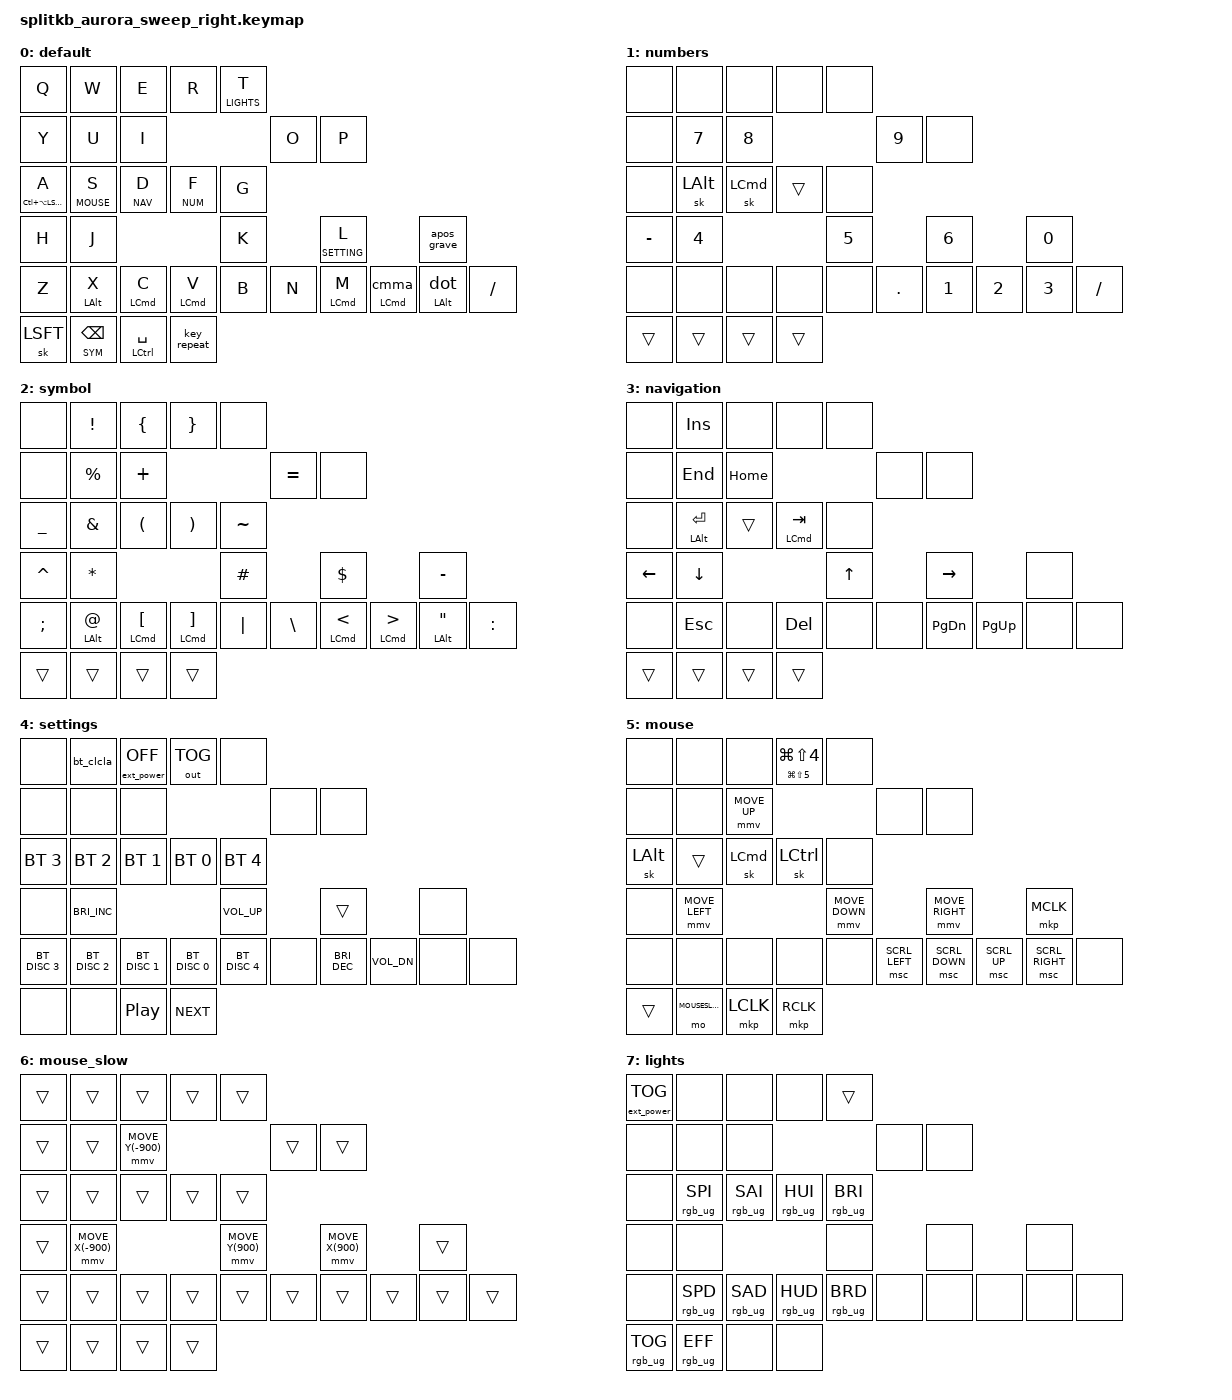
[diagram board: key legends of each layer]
/*
 * Copyright (c) 2022 The ZMK Contributors
 *
 * SPDX-License-Identifier: MIT
 */
#include <behaviors.dtsi>
#include <dt-bindings/zmk/keys.h>
#include <dt-bindings/zmk/bt.h>
#include <dt-bindings/zmk/rgb.h>
#include <dt-bindings/zmk/outputs.h>
#include <dt-bindings/zmk/ext_power.h>

#define ZMK_POINTING_DEFAULT_MOVE_VAL 1800
#include <dt-bindings/zmk/pointing.h>

#define BASE        0
#define NUM         1
#define SYM         2
#define NAV         3
#define SETTING     4
#define MOUSE       5
#define MOUSESLOW   6
#define LIGHTS      7

/* this is required here to make sure all leds get turned on per side */
&led_strip {
    chain-length = <23>;
};

&kscan {
    col-gpios
            = <&pro_micro 9 (GPIO_PULL_DOWN | GPIO_ACTIVE_HIGH)>
            , <&pro_micro 8  (GPIO_PULL_DOWN | GPIO_ACTIVE_HIGH)>
            , <&pro_micro 7  (GPIO_PULL_DOWN | GPIO_ACTIVE_HIGH)>
            , <&pro_micro 4  (GPIO_PULL_DOWN | GPIO_ACTIVE_HIGH)>
            , <&pro_micro 5  (GPIO_PULL_DOWN | GPIO_ACTIVE_HIGH)>
            ;
};

&right_encoder2 {
    status = "okay";
    a-gpios = <&pro_micro 20 GPIO_PULL_UP>;
    b-gpios = <&pro_micro 6  GPIO_PULL_UP>;
};

&mt {
    flavor = "tap-preferred";
    tapping-term-ms = <220>;
    quick-tap-ms = <180>;
    require-prior-idle-ms = <100>;
};

&sk {
    release-after-ms = <800>;
    quick-release;
};

&caps_word {
    continue-list = <UNDERSCORE MINUS BSPC>;
};

/ {
    combos {
        compatible = "zmk,combos";

        /****************************************
        ********** Left Hand Combos  ***********
        ****************************************/

        combo_ctrl_b {
            timeout-ms = <40>;
            key-positions = <11 12>;
            bindings = <&kp LC(B)>;
        };

        combo_save {
            timeout-ms = <40>;
            key-positions = <12 13>;
            bindings = <&kp LC(S)>;
        };

        combo_copy_yank {
            timeout-ms = <40>;
            key-positions = <21 22>;
            bindings = <&kp LG(C)>;
        };

	    combo_paste {
            timeout-ms = <40>;
            key-positions = <22 23>;
            bindings = <&kp LG(V)>;
        };

        combo_app_switcher {
            timeout-ms = <40>;
            key-positions = <21 22 23>;
            bindings = <&kp LG(TAB)>;
        };

    	combo_ctrl_tab {
            timeout-ms = <40>;
            key-positions = <2 13>;
            bindings = <&kp LC(TAB)>;
        };

    	combo_ctrl_tab_back {
            timeout-ms = <40>;
            key-positions = <2 11>;
            bindings = <&kp LC(LS(TAB))>;
        };

    	combo_swap_tab_down {
            timeout-ms = <40>;
            key-positions = <12 3>;
            bindings = <&kp LC(LS(PAGE_DOWN))>;
        };

    	combo_swap_tab_up {
            timeout-ms = <40>;
            key-positions = <1 12>;
            bindings = <&kp LC(LS(PAGE_UP))>;
        };

    	combo_back_history {
            timeout-ms = <40>;
            key-positions = <1 2>;
            bindings = <&kp LG(LBKT)>;
        };

    	combo_forward_history {
            timeout-ms = <40>;
            key-positions = <2 3>;
            bindings = <&kp LG(RBKT)>;
        };

    	combo_space {
            timeout-ms = <40>;
            key-positions = <11 13>;
            bindings = <&kp SPACE>;
        };

        /****************************************
        ********** Right Hand Combos  ***********
        ****************************************/

    	combo_esc {
            timeout-ms = <40>;
            key-positions = <16 17>;
            bindings = <&kp ESC>;
            layers = <0 1 2 3>;
        };

        combo_return {
            timeout-ms = <40>;
            key-positions = <17 18>;
            bindings = <&kp RETURN>;
            layers = <0 1 2 3>;
        };

    	combo_del {
            timeout-ms = <40>;
            key-positions = <26 27>;
            bindings = <&kp DEL>;
        };

    	combo_tab {
            timeout-ms = <40>;
            key-positions = <27 28>;
            bindings = <&kp TAB>;
        };

    	combo_bol {
            timeout-ms = <40>;
            key-positions = <6 7>;
            bindings = <&kp LG(LEFT)>;
        };

    	combo_eol {
            timeout-ms = <40>;
            key-positions = <7 8>;
            bindings = <&kp LG(RIGHT)>;
        };

    	combo_word_left {
            timeout-ms = <40>;
            key-positions = <7 16>;
            bindings = <&kp LA(LEFT)>;
            layers = <0 1 2 3>;
        };

    	combo_word_right {
            timeout-ms = <40>;
            key-positions = <7 18>;
            bindings = <&kp LA(RIGHT)>;
            layers = <0 1 2 3>;
        };

        /****************************
        ******    Code Combos   *****
        ******  Right Hand Vim  *****
        *****************************/

        combo_focus_left {
            timeout-ms = <35>;
            key-positions = <17 26>;
            bindings = <&kp LC(H)>;
        };

        combo_focus_right {
            timeout-ms = <50>;
            key-positions = <17 28>;
            bindings = <&kp LC(L)>;
        };

        combo_focus_down {
            timeout-ms = <35>;
            key-positions = <16 27>;
            bindings = <&kp LC(J)>;
        };

        combo_focus_up {
            timeout-ms = <50>;
            key-positions = <18 27>;
            bindings = <&kp LC(K)>;
        };

        /****************************************
        ********** Both Hand Combos  ***********
        ****************************************/

        combo_caps_word {
            timeout-ms = <55>;
            key-positions = <13 16>;
            bindings = <&caps_word>;
        };

    };

    behaviors {
        mo_kp: momentary_hold_key_press_hold {
             compatible = "zmk,behavior-hold-tap";
             #binding-cells = <2>;
             flavor = "hold-preferred";
             tapping-term-ms = <180>;
             quick-tap-ms = <180>;
             bindings = <&mo>, <&kp>;
         };

        mo_kp_tap: momentary_hold_key_press_tap_prefer {
            compatible = "zmk,behavior-hold-tap";
            #binding-cells = <2>;
            flavor = "tap-preferred";
            tapping-term-ms = <220>;
            quick-tap-ms = <180>;
            require-prior-idle-ms = <100>;
            bindings = <&mo>, <&kp>;
        };

        sk_kp_tap: stiky_key_press_tap_prefer {
            compatible = "zmk,behavior-hold-tap";
            #binding-cells = <2>;
            flavor = "tap-preferred";
            tapping-term-ms = <220>;
            quick-tap-ms = <180>;
            require-prior-idle-ms = <100>;
            bindings = <&sk>, <&kp>;
        };

        bt_clcla: tap_dance_bt_control {
            compatible = "zmk,behavior-tap-dance";
            #binding-cells = <0>;
            tapping-term-ms = <300>;
            bindings = <&none>, <&bt BT_CLR>, <&bt BT_CLR_ALL>;
        };

        apos_grave: aposgrave {
            compatible = "zmk,behavior-mod-morph";
            #binding-cells = <0>;
            bindings = <&kp APOS>, <&kp GRAVE>;
            mods = <(MOD_LSFT|MOD_RSFT)>;
        };

        dot: period_mod_tap {
            compatible = "zmk,behavior-mod-morph";
            #binding-cells = <0>;
            bindings = <&kp DOT>, <&kp DQT>;
            mods = <(MOD_LSFT|MOD_RSFT)>;
        };

        dot_hold: dot_hold {
            compatible = "zmk,behavior-hold-tap";
            #binding-cells = <2>;
            flavor = "tap-preferred";
            tapping-term-ms = <220>;
            quick-tap-ms = <180>;
            require-prior-idle-ms = <100>;
            bindings = <&kp>, <&dot>;
        };

        cmma: cmma_mod_tap {
            compatible = "zmk,behavior-mod-morph";
            #binding-cells = <0>;
            bindings = <&kp COMMA>, <&kp EXCL>;
            mods = <(MOD_LSFT|MOD_RSFT)>;
        };

        cmma_hold: cmma_hold {
            compatible = "zmk,behavior-hold-tap";
            #binding-cells = <2>;
            flavor = "tap-preferred";
            tapping-term-ms = <220>;
            quick-tap-ms = <180>;
            require-prior-idle-ms = <100>;
            bindings = <&kp>, <&cmma>;
        };

    };

    keymap {
        compatible = "zmk,keymap";

        /* 0 */
        default {
            bindings = <
                &kp Q &kp W &kp E &kp R &mo_kp_tap LIGHTS T
                &kp Y &kp U &kp I &kp O &kp P

                &mt LC(LA(LSHIFT)) A &mo_kp_tap MOUSE S &mo_kp_tap NAV D &mo_kp_tap NUM F &kp G
                &kp H &kp J &kp K &mo_kp_tap SETTING L &apos_grave

                &kp Z &mt LALT X &mt LCMD C &mt LCMD V &kp B
                &kp N &mt LCMD M &cmma_hold LCMD 0 &dot_hold LALT 0 &kp SLASH

                &sk LSFT &mo_kp SYM BSPC &sk_kp_tap LCTRL SPACE &key_repeat
            >;
		};

        /* 1 */
        numbers {
            bindings = <
                &none &none &none &none &none
                &none &kp NUM_7 &kp NUM_8 &kp NUM_9 &none

		        &none &sk LALT &sk LCMD &trans &none
                &kp MINUS &kp NUM_4 &kp NUM_5 &kp NUM_6 &kp NUM_0

                &none &none &none &none &none
                &kp DOT &kp NUM_1 &kp NUM_2 &kp NUM_3 &kp SLASH

	            &trans &trans &trans &trans
            >;
		};

        /* 2 */
	    symbol {
            bindings = <
                &none &kp EXCL &kp LBRC &kp RBRC &none
                &none &kp PERCENT &kp PLUS &kp EQUAL &none

                &kp UNDER &kp AMPS &kp LPAR &kp RPAR &kp TILDE
                &kp CARET &kp STAR &kp HASH &kp DOLLAR &kp MINUS

                &kp SEMICOLON &mt LALT AT &mt LCMD LBKT &mt LCMD RBKT &kp PIPE
                &kp BACKSLASH &mt LCMD LT &mt LCMD GT &mt LALT DQT &kp COLON

                &trans &trans &trans &trans
            >;
		};

        /* 3 */
	    navigation {
            bindings = <
                &none &kp INSERT &none &none &none
                &none &kp END &kp HOME &none &none

                &none &mt LALT RETURN &trans &mt LCMD TAB &none
                &kp LEFT &kp DOWN &kp UP &kp RIGHT &none

                &none &kp ESC &none &kp DEL &none
                &none &kp PAGE_DOWN &kp PAGE_UP &none &none

                &trans &trans &trans &trans
            >;
		};

        /* 4 */
    	settings {
            bindings = <
                &none &bt_clcla &ext_power EP_OFF &out OUT_TOG &none
                &none &none &none &none &none

                &bt BT_SEL 3 &bt BT_SEL 2 &bt BT_SEL 1 &bt BT_SEL 0 &bt BT_SEL 4
                &none &kp C_BRIGHTNESS_INC &kp C_VOL_UP &trans &none

                &bt BT_DISC 3 &bt BT_DISC 2 &bt BT_DISC 1 &bt BT_DISC 0 &bt BT_DISC 4
                &none &kp C_BRIGHTNESS_DEC &kp C_VOL_DN &none &none

                &none &none &kp C_PP &kp C_NEXT
            >;
        };

        /* 5 */
        mouse {
            bindings = <
                &none &none &none &mt LG(LS(NUM_5)) LG(LS(NUM_4)) &none
                &none &none &mmv MOVE_UP &none &none

                &sk LALT &trans &sk LCMD &sk LCTRL &none
                &none &mmv MOVE_LEFT &mmv MOVE_DOWN  &mmv MOVE_RIGHT &mkp MCLK

                &none &none &none &none &none
                &msc SCRL_LEFT &msc SCRL_DOWN &msc SCRL_UP &msc SCRL_RIGHT &none

                &trans &mo MOUSESLOW &mkp LCLK &mkp RCLK
            >;
        };

        /* 6 */
        mouse_slow {
            bindings = <
                &trans &trans &trans &trans &trans
                &trans &trans &mmv MOVE_Y(-900) &trans &trans
                &trans &trans &trans &trans &trans
                &trans &mmv MOVE_X(-900) &mmv MOVE_Y(900) &mmv MOVE_X(900) &trans
                &trans &trans &trans &trans &trans &trans &trans &trans &trans &trans
                &trans &trans &trans &trans
            >;
        };

        /* 7 */
        lights {
            bindings = <
                &ext_power EP_TOG &none &none &none &trans
                &none &none &none &none &none
                &none &rgb_ug RGB_SPI &rgb_ug RGB_SAI &rgb_ug RGB_HUI &rgb_ug RGB_BRI
                &none &none &none &none &none
                &none &rgb_ug RGB_SPD &rgb_ug RGB_SAD &rgb_ug RGB_HUD &rgb_ug RGB_BRD
                &none &none &none &none &none
                &rgb_ug RGB_TOG &rgb_ug RGB_EFF &none &none
            >;
        };
	};
};
